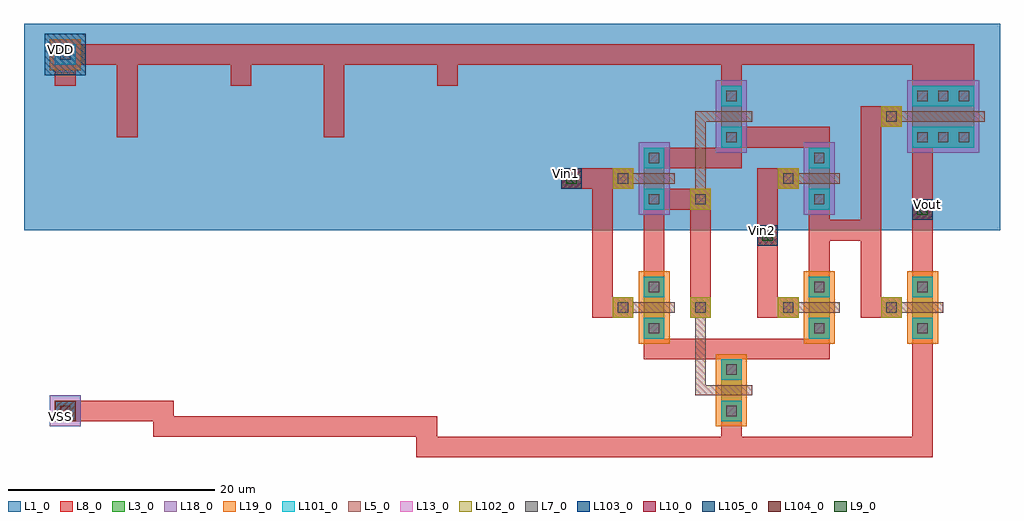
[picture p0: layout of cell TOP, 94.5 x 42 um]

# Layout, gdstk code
from math import pi, radians
import gdstk
lib = gdstk.Library(unit=1e-6, precision=1e-09)
def R(c, l, rs):  # rectangles x0, y0, x1, y1
    for r in rs: c.add(gdstk.rectangle(r[:2], r[2:], *l))
L1_0 = (1, 0)
L3_0 = (3, 0)
L5_0 = (5, 0)
L7_0 = (7, 0)
L8_0 = (8, 0)
L9_0 = (9, 0)
L10_0 = (10, 0)
L13_0 = (13, 0)
L18_0 = (18, 0)
L19_0 = (19, 0)
L101_0 = (101, 0)
L102_0 = (102, 0)
L103_0 = (103, 0)
L104_0 = (104, 0)
L105_0 = (105, 0)

dcont = lib.new_cell('dcont')
R(dcont, L3_0, [(-1,-1,1,1)])
R(dcont, L7_0, [(-0.5,-0.5,0.5,0.5)])
R(dcont, L8_0, [(-1,-1,1,1)])
R(dcont, L13_0, [(-0.5,-0.5,0.5,0.5)])
R(dcont, L101_0, [(-1,-1,1,1)])
dcont.add(gdstk.Label('dcont', (0,0), layer=13, texttype=0))

pcont = lib.new_cell('pcont')
R(pcont, L5_0, [(-1,-1,1,1)])
R(pcont, L7_0, [(-0.5,-0.5,0.5,0.5)])
R(pcont, L8_0, [(-1,-1,1,1)])
R(pcont, L13_0, [(-0.5,-0.5,0.5,0.5)])
R(pcont, L102_0, [(-1,-1,1,1)])
pcont.add(gdstk.Label('pcont', (0,0), layer=13, texttype=0))

nsubcont = lib.new_cell('nsubcont')
R(nsubcont, L1_0, [(-2,-2,2,2)])
R(nsubcont, L19_0, [(-1.5,-1.5,1.5,1.5)])
R(nsubcont, L103_0, [(-2,-2,2,2)])
nsubcont.add(gdstk.Reference(dcont, (0,0)))
nsubcont.add(gdstk.Label('NScont', (0,0), layer=13, texttype=0))

psubcont = lib.new_cell('psubcont')
R(psubcont, L18_0, [(-1.5,-1.5,1.5,1.5)])
R(psubcont, L104_0, [(-1,-1,1,1)])
psubcont.add(gdstk.Reference(dcont, (0,0)))
psubcont.add(gdstk.Label('PScon', (0,0), layer=13, texttype=0))

via = lib.new_cell('Via')
R(via, L8_0, [(-1,-1,1,1)])
R(via, L9_0, [(-0.5,-0.5,0.5,0.5)])
R(via, L10_0, [(-1,-1,1,1)])
R(via, L13_0, [(-0.5,-0.5,0.5,0.5)])
R(via, L105_0, [(-1,-1,1,1)])
via.add(gdstk.Label('via', (0,0), layer=13, texttype=0))

top = lib.new_cell('TOP')
R(top, L1_0, [(-2,62.5,21.5,82.5), (21.5,62.5,31,82.5), (31,62.5,48.5,82.5), (48.5,62.5,88,82.5), (88,62.5,92.5,82.5)])
R(top, L3_0, [(65.5,44,67.5,50), (58,52,60,58), (74,52,76,58), (84,52,86,58), (58,64.5,60,70.5), (74,64.5,76,70.5), (65.5,70.5,67.5,76.5), (84,70.5,90,76.5)])
R(top, L8_0, [(84,76.5,90,80.5)])
R(top, L18_0, [(57.5,64,60.5,71), (73.5,64,76.5,71), (65,70,68,77), (83.5,70,90.5,77)])
R(top, L19_0, [(65,43.5,68,50.5), (57.5,51.5,60.5,58.5), (73.5,51.5,76.5,58.5), (83.5,51.5,86.5,58.5)])
top.add(gdstk.FlexPath([(9,79.5),(19,79.5),(19,76.5)], 2, ends="flush", simple_path=True, layer=8, datatype=0))  # L8_0
top.add(gdstk.FlexPath([(20,79.5),(28,79.5),(28,71.5)], 2, ends="flush", simple_path=True, layer=8, datatype=0))  # L8_0
top.add(gdstk.FlexPath([(40,79.5),(66,79.5),(66.5,79.5),(66.5,76.5)], 2, ends="flush", simple_path=True, layer=8, datatype=0))  # L8_0
top.add(gdstk.FlexPath([(29,79.5),(39,79.5),(39,76.5)], 2, ends="flush", simple_path=True, layer=8, datatype=0))  # L8_0
top.add(gdstk.FlexPath([(75,65.5),(75,57.5)], 2, ends="flush", simple_path=True, layer=8, datatype=0))  # L8_0
top.add(gdstk.FlexPath([(3,45),(9,45)], 2, ends="flush", simple_path=True, layer=8, datatype=0))  # L8_0
top.add(gdstk.FlexPath([(14.5,43.5),(38,43.5)], 2, ends="flush", simple_path=True, layer=8, datatype=0))  # L8_0
top.add(gdstk.FlexPath([(9,45),(11.5,45),(11.5,43.5),(14.5,43.5)], 2, ends="flush", simple_path=True, layer=8, datatype=0))  # L8_0
top.add(gdstk.FlexPath([(38,41.5),(67.5,41.5)], 2, ends="flush", simple_path=True, layer=8, datatype=0))  # L8_0
top.add(gdstk.FlexPath([(66.5,44),(66.5,42.5),(66.5,42.5)], 2, ends="flush", simple_path=True, layer=8, datatype=0))  # L8_0
top.add(gdstk.FlexPath([(85,70.5),(85,58)], 2, ends="flush", simple_path=True, layer=8, datatype=0))  # L8_0
top.add(gdstk.FlexPath([(37,42.5),(37,40.5)], 2, ends="flush", simple_path=True, layer=8, datatype=0))  # L8_0
top.add(gdstk.FlexPath([(67.5,71.5),(76,71.5)], 2, ends="flush", simple_path=True, layer=8, datatype=0))  # L8_0
top.add(gdstk.FlexPath([(60,69.5),(67.5,69.5)], 2, ends="flush", simple_path=True, layer=8, datatype=0))  # L8_0
top.add(gdstk.FlexPath([(59,64.5),(59,58)], 2, ends="flush", simple_path=True, layer=8, datatype=0))  # L8_0
top.add(gdstk.FlexPath([(60,65.5),(62.5,65.5)], 2, ends="flush", simple_path=True, layer=8, datatype=0))  # L8_0
top.add(gdstk.FlexPath([(63.5,64.5),(63.5,56)], 2, ends="flush", simple_path=True, layer=8, datatype=0))  # L8_0
top.add(gdstk.FlexPath([(58,51),(76,51)], 2, ends="flush", simple_path=True, layer=8, datatype=0))  # L8_0
top.add(gdstk.FlexPath([(76,62.5),(79,62.5)], 2, ends="flush", simple_path=True, layer=8, datatype=0))  # L8_0
top.add(gdstk.FlexPath([(67.5,79.5),(84,79.5)], 2, ends="flush", simple_path=True, layer=8, datatype=0))  # L8_0
top.add(gdstk.FlexPath([(67.5,41.5),(85,41.5),(85,52)], 2, ends="flush", simple_path=True, layer=8, datatype=0))  # L8_0
top.add(gdstk.FlexPath([(70,68.5),(70,54)], 2, ends="flush", simple_path=True, layer=8, datatype=0))  # L8_0
top.add(gdstk.FlexPath([(80,74.5),(80,54)], 2, ends="flush", simple_path=True, layer=8, datatype=0))  # L8_0
top.add(gdstk.FlexPath([(52,67.5),(55,67.5)], 2, ends="flush", simple_path=True, layer=8, datatype=0))  # L8_0
top.add(gdstk.FlexPath([(54,67.5),(54,54)], 2, ends="flush", simple_path=True, layer=8, datatype=0))  # L8_0
top.add(gdstk.FlexPath([(2,78.5),(2,76.5)], 2, ends="flush", simple_path=True, layer=8, datatype=0))  # L8_0
top.add(gdstk.FlexPath([(3,79.5),(8,79.5),(8,71.5)], 2, ends="flush", simple_path=True, layer=8, datatype=0))  # L8_0
top.add(gdstk.FlexPath([(83,55),(87,55)], 1, ends="flush", simple_path=True, layer=5, datatype=0))  # L5_0
top.add(gdstk.FlexPath([(73,67.5),(77,67.5)], 1, ends="flush", simple_path=True, layer=5, datatype=0))  # L5_0
top.add(gdstk.FlexPath([(64.5,73.5),(68.5,73.5)], 1, ends="flush", simple_path=True, layer=5, datatype=0))  # L5_0
top.add(gdstk.FlexPath([(57,67.5),(61,67.5)], 1, ends="flush", simple_path=True, layer=5, datatype=0))  # L5_0
top.add(gdstk.FlexPath([(82.5,73.5),(91,73.5)], 1, ends="flush", simple_path=True, layer=5, datatype=0))  # L5_0
top.add(gdstk.FlexPath([(64.5,73.5),(63.5,73.5),(63.5,66.5)], 1, ends="flush", simple_path=True, layer=5, datatype=0))  # L5_0
top.add(gdstk.FlexPath([(73,55),(77,55)], 1, ends="flush", simple_path=True, layer=5, datatype=0))  # L5_0
top.add(gdstk.FlexPath([(57,55),(61,55)], 1, ends="flush", simple_path=True, layer=5, datatype=0))  # L5_0
top.add(gdstk.FlexPath([(64.5,47),(68.5,47)], 1, ends="flush", simple_path=True, layer=5, datatype=0))  # L5_0
top.add(gdstk.FlexPath([(63.5,54),(63.5,47),(64.5,47)], 1, ends="flush", simple_path=True, layer=5, datatype=0))  # L5_0
top.add(gdstk.Reference(dcont, (85,53), rotation=pi))
top.add(gdstk.Reference(dcont, (85,57), rotation=pi))
top.add(gdstk.Reference(pcont, (82,55), rotation=pi))
top.add(gdstk.Reference(pcont, (82,73.5), rotation=pi))
top.add(gdstk.Reference(pcont, (72,55), rotation=pi))
top.add(gdstk.Reference(dcont, (75,65.5), rotation=pi))
top.add(gdstk.Reference(nsubcont, (2,79.5), rotation=pi))
top.add(gdstk.Reference(dcont, (75,69.5), rotation=pi))
top.add(gdstk.Reference(pcont, (72,67.5), rotation=pi))
top.add(gdstk.Reference(dcont, (66.5,71.5), rotation=pi))
top.add(gdstk.Reference(dcont, (66.5,75.5), rotation=pi))
top.add(gdstk.Reference(pcont, (63.5,65.5), rotation=pi))
top.add(gdstk.Reference(pcont, (56,55), rotation=pi))
top.add(gdstk.Reference(dcont, (59,65.5), rotation=pi))
top.add(gdstk.Reference(dcont, (59,69.5), rotation=pi))
top.add(gdstk.Reference(pcont, (56,67.5), rotation=pi))
top.add(gdstk.Reference(dcont, (87,71.5), rotation=pi))
top.add(gdstk.Reference(dcont, (87,75.5), rotation=pi))
top.add(gdstk.Reference(dcont, (85,75.5), rotation=pi))
top.add(gdstk.Reference(dcont, (85,71.5), rotation=pi))
top.add(gdstk.Reference(dcont, (89,71.5), rotation=pi))
top.add(gdstk.Reference(dcont, (89,75.5), rotation=pi))
top.add(gdstk.Reference(psubcont, (2,45), rotation=pi))
top.add(gdstk.Reference(via, (70,62), rotation=pi))
top.add(gdstk.Reference(via, (51,67.5), rotation=pi))
top.add(gdstk.Reference(via, (85,64.5), rotation=pi))
top.add(gdstk.Reference(dcont, (59,57), rotation=pi))
top.add(gdstk.Reference(dcont, (59,53), rotation=pi))
top.add(gdstk.Reference(dcont, (75,57), rotation=pi))
top.add(gdstk.Reference(dcont, (75,53), rotation=pi))
top.add(gdstk.Reference(dcont, (66.5,45), rotation=pi))
top.add(gdstk.Reference(dcont, (66.5,49), rotation=pi))
top.add(gdstk.Reference(pcont, (63.5,55), rotation=pi))
top.add(gdstk.Label('VSS', (1.5,44.5), layer=8, texttype=0))
top.add(gdstk.Label('VDD', (1.5,80), layer=8, texttype=0))
top.add(gdstk.Label('Vin1', (50.5,68), layer=10, texttype=0))
top.add(gdstk.Label('Vin2', (69.5,62.5), layer=10, texttype=0))
top.add(gdstk.Label('Vout', (85.5,65), layer=10, texttype=0))

lib.write_gds('TOP.gds')
